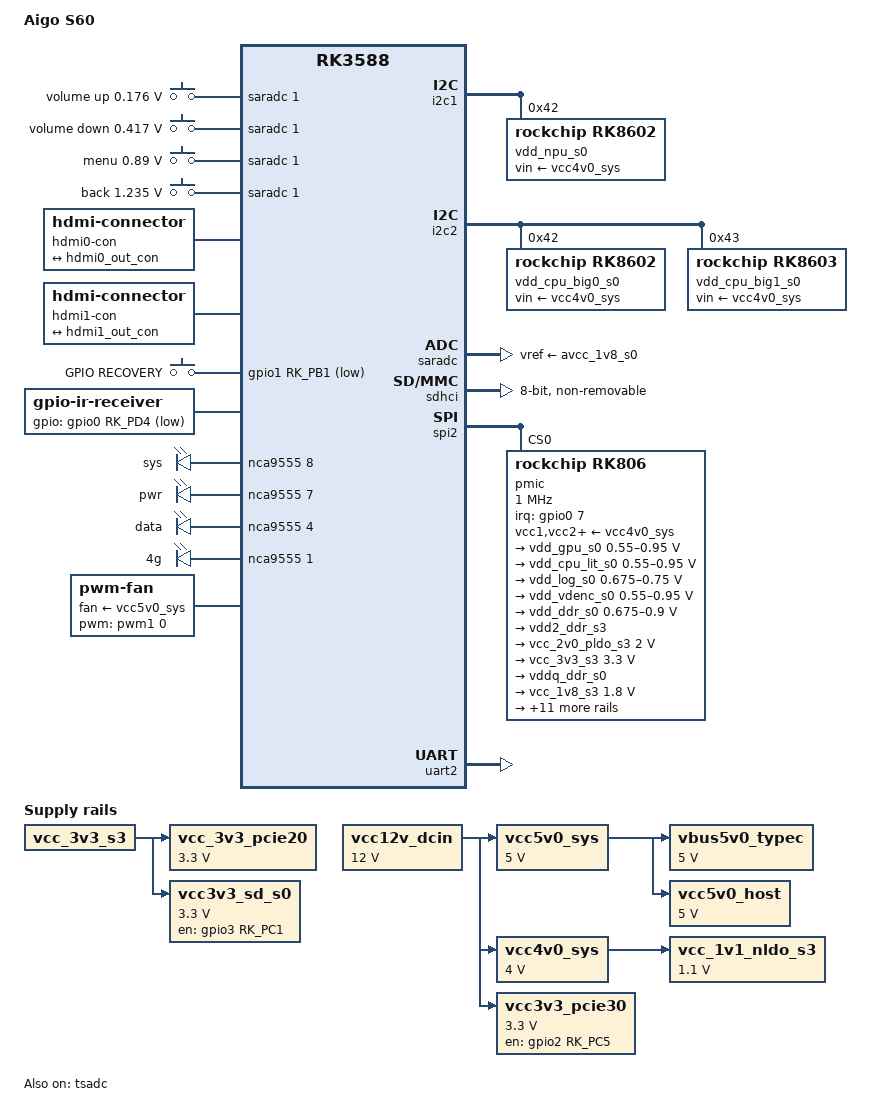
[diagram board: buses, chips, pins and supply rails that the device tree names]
// SPDX-License-Identifier: (GPL-2.0+ OR MIT)
/*
 * Copyright (c) 2021 Rockchip Electronics Co., Ltd.
 * Copyright (c) 2023 Thomas McKahan
 * Copyright (c) 2024 Linaro Ltd.
 *
 * AIoT-3588IED board device tree source
 * Based on rk3588-nanopc-t6.dtsi, with hardware
 * differences adjusted per factory-image boot.dts.
 */

/dts-v1/;

#include <dt-bindings/gpio/gpio.h>
#include <dt-bindings/input/input.h>
#include <dt-bindings/pinctrl/rockchip.h>
#include <dt-bindings/soc/rockchip,vop2.h>
#include <dt-bindings/thermal/thermal.h>
#include <dt-bindings/usb/pd.h>
#include "rk3588.dtsi"

/ {
	model = "Aigo S60";
	compatible = "rockchip,rk3588-aigo-s60", "rockchip,rk3588";

	aliases {
		mmc0 = &sdhci;
		mmc1 = &sdmmc;
		mmc2 = &sdio;
		ethernet0 = &gmac1;
	};

	adc-keys-0 {
		compatible = "adc-keys";
		io-channels = <&saradc 1>;
		io-channel-names = "buttons";
		keyup-threshold-microvolt = <1800000>;
		poll-interval = <100>;

		vol-up-key {
			label = "volume up";
			linux,code = <KEY_VOLUMEUP>;
			press-threshold-microvolt = <175800>;
		};

		vol-down-key {
			label = "volume down";
			linux,code = <KEY_VOLUMEDOWN>;
			press-threshold-microvolt = <417000>;
		};

		menu-key {
			label = "menu";
			linux,code = <KEY_MENU>;
			press-threshold-microvolt = <890000>;
		};

		back-key {
			label = "back";
			linux,code = <KEY_BACK>;
			press-threshold-microvolt = <1235000>;
		};
	};

	chosen {
		stdout-path = "serial2:1500000n8";
	};

	hdmi0-con {
		compatible = "hdmi-connector";
		type = "a";

		port {
			hdmi0_con_in: endpoint {
				remote-endpoint = <&hdmi0_out_con>;
			};
		};
	};

	hdmi1-con {
		compatible = "hdmi-connector";
		type = "a";

		port {
			hdmi1_con_in: endpoint {
				remote-endpoint = <&hdmi1_out_con>;
			};
		};
	};

	gpio-keys {
		compatible = "gpio-keys";
		autorepeat;

		recovery {
			debounce-interval = <100>;
			gpios = <&gpio1 RK_PB1 GPIO_ACTIVE_LOW>;
			label = "GPIO RECOVERY";
			linux,code = <KEY_F8>;
		};
	};

	ir-receiver {
		compatible = "gpio-ir-receiver";
		gpios = <&gpio0 RK_PD4 GPIO_ACTIVE_LOW>;
		pinctrl-names = "default";
		pinctrl-0 = <&ir_receiver_pin>;
	};

	leds {
		compatible = "gpio-leds";

		sys_led: led-0 {
			gpios = <&nca9555 8 GPIO_ACTIVE_HIGH>;
			label = "sys";
			linux,default-trigger = "heartbeat";
			default-state = "on";
		};

		pwr_led: led-1 {
			gpios = <&nca9555 7 GPIO_ACTIVE_HIGH>;
			label = "pwr";
			default-state = "on";
		};

		data_led: led-2 {
			gpios = <&nca9555 4 GPIO_ACTIVE_HIGH>;
			label = "data";
			linux,default-trigger = "mmc0";
			default-state = "off";
		};

		fourg_led: led-3 {
			gpios = <&nca9555 1 GPIO_ACTIVE_HIGH>;
			label = "4g";
			default-state = "off";
		};
	};

	fan: pwm-fan {
		compatible = "pwm-fan";
		cooling-levels = <0 35 64 100 150 255>;
		fan-supply = <&vcc5v0_sys>;
		pwms = <&pwm1 0 50000 0>;
		#cooling-cells = <2>;
	};

	/* sound node removed — es8388 codec was on i2c7, now disabled */

	vcc12v_dcin: regulator-vcc12v-dcin {
		compatible = "regulator-fixed";
		regulator-name = "vcc12v_dcin";
		regulator-always-on;
		regulator-boot-on;
		regulator-min-microvolt = <12000000>;
		regulator-max-microvolt = <12000000>;
	};

	/* vcc5v0_sys powers peripherals */
	vcc5v0_sys: regulator-vcc5v0-sys {
		compatible = "regulator-fixed";
		regulator-name = "vcc5v0_sys";
		regulator-always-on;
		regulator-boot-on;
		regulator-min-microvolt = <5000000>;
		regulator-max-microvolt = <5000000>;
		vin-supply = <&vcc12v_dcin>;
	};

	/* vcc4v0_sys powers the RK806, RK860's */
	vcc4v0_sys: regulator-vcc4v0-sys {
		compatible = "regulator-fixed";
		regulator-name = "vcc4v0_sys";
		regulator-always-on;
		regulator-boot-on;
		regulator-min-microvolt = <4000000>;
		regulator-max-microvolt = <4000000>;
		vin-supply = <&vcc12v_dcin>;
	};

	vcc_1v1_nldo_s3: regulator-vcc-1v1-nldo-s3 {
		compatible = "regulator-fixed";
		regulator-name = "vcc-1v1-nldo-s3";
		regulator-always-on;
		regulator-boot-on;
		regulator-min-microvolt = <1100000>;
		regulator-max-microvolt = <1100000>;
		vin-supply = <&vcc4v0_sys>;
	};

	vcc_3v3_pcie20: regulator-vcc3v3-pcie20 {
		compatible = "regulator-fixed";
		regulator-name = "vcc_3v3_pcie20";
		regulator-always-on;
		regulator-boot-on;
		regulator-min-microvolt = <3300000>;
		regulator-max-microvolt = <3300000>;
		vin-supply = <&vcc_3v3_s3>;
	};

	vbus5v0_typec: regulator-vbus5v0-typec {
		compatible = "regulator-fixed";
		enable-active-high;
		regulator-name = "vbus5v0_typec";
		regulator-min-microvolt = <5000000>;
		regulator-max-microvolt = <5000000>;
		vin-supply = <&vcc5v0_sys>;
	};

	vcc5v0_host: regulator-vcc5v0-host {
		compatible = "regulator-fixed";
		regulator-name = "vcc5v0_host";
		regulator-always-on;
		regulator-boot-on;
		regulator-min-microvolt = <5000000>;
		regulator-max-microvolt = <5000000>;
		vin-supply = <&vcc5v0_sys>;
	};

	vcc3v3_pcie30: regulator-vcc3v3-pcie30 {
		compatible = "regulator-fixed";
		enable-active-high;
		gpios = <&gpio2 RK_PC5 GPIO_ACTIVE_HIGH>;
		pinctrl-names = "default";
		pinctrl-0 = <&pcie_m2_0_pwren>;
		regulator-name = "vcc3v3_pcie30";
		regulator-min-microvolt = <3300000>;
		regulator-max-microvolt = <3300000>;
		startup-delay-us = <5000>;
		vin-supply = <&vcc12v_dcin>;
	};

	vcc3v3_sd_s0: regulator-vcc3v3-sd-s0 {
		compatible = "regulator-fixed";
		enable-active-high;
		gpio = <&gpio3 RK_PC1 GPIO_ACTIVE_HIGH>;
		pinctrl-names = "default";
		pinctrl-0 = <&sd_s0_pwren>;
		regulator-name = "vcc3v3_sd_s0";
		regulator-min-microvolt = <3300000>;
		regulator-max-microvolt = <3300000>;
		vin-supply = <&vcc_3v3_s3>;
	};
};

&combphy0_ps {
	status = "disabled";
};

&combphy1_ps {
	status = "disabled";
};

&combphy2_psu {
	status = "disabled";
};

&cpu_l0 {
	cpu-supply = <&vdd_cpu_lit_s0>;
};

&cpu_l1 {
	cpu-supply = <&vdd_cpu_lit_s0>;
};

&cpu_l2 {
	cpu-supply = <&vdd_cpu_lit_s0>;
};

&cpu_l3 {
	cpu-supply = <&vdd_cpu_lit_s0>;
};

&cpu_b0 {
	cpu-supply = <&vdd_cpu_big0_s0>;
};

&cpu_b1 {
	cpu-supply = <&vdd_cpu_big0_s0>;
};

&cpu_b2 {
	cpu-supply = <&vdd_cpu_big1_s0>;
};

&cpu_b3 {
	cpu-supply = <&vdd_cpu_big1_s0>;
};

/* Ethernet disabled — headless recovery doesn't need networking.
 * gmac may also try MSI via ITS. */
&gmac1 {
	status = "disabled";
};

&gpu {
	status = "disabled";
};

/* Disable ITS — RK3588001 erratum makes MSI allocation hang.
 * Without ITS, all devices fall back to wired IRQs. */
&its0 {
	status = "disabled";
};

&its1 {
	status = "disabled";
};

&mmu600_pcie {
	status = "disabled";
};

&mmu600_php {
	status = "disabled";
};

&av1d {
	status = "disabled";
};

&av1d_mmu {
	status = "disabled";
};

&rga3_core1 {
	status = "disabled";
};

&rga3_1_mmu {
	status = "disabled";
};

&vepu121_1 {
	status = "disabled";
};

&vepu121_1_mmu {
	status = "disabled";
};

&vepu121_2 {
	status = "disabled";
};

&vepu121_2_mmu {
	status = "disabled";
};

&vepu121_3 {
	status = "disabled";
};

&vepu121_3_mmu {
	status = "disabled";
};

&vdec1 {
	status = "disabled";
};

&vdec1_mmu {
	status = "disabled";
};

&hdmi0 {
	status = "disabled";
};

&hdmi0_out {
	hdmi0_out_con: endpoint {
		remote-endpoint = <&hdmi0_con_in>;
	};
};

&hdmi1 {
	frl-enable-gpios = <&gpio1 RK_PC6 GPIO_ACTIVE_LOW>;
	pinctrl-0 = <&hdmim1_tx1_cec &hdmim0_tx1_hpd
		     &hdmim2_tx1_scl &hdmim2_tx1_sda &hdmi1_tx_on_h>;
	pinctrl-names = "default";
	status = "disabled";
};

&hdmi1_in {
	hdmi1_in_vp0: endpoint {
		remote-endpoint = <&vp0_out_hdmi1>;
	};
};

&hdmi1_out {
	hdmi1_out_con: endpoint {
		remote-endpoint = <&hdmi1_con_in>;
	};
};

&hdmi1_sound {
	status = "disabled";
};

&hdmi_receiver_cma {
	status = "disabled";
};

&hdmi_receiver {
	hpd-gpios = <&gpio1 RK_PD5 GPIO_ACTIVE_LOW>;
	pinctrl-0 = <&hdmim1_rx_cec &hdmim1_rx_hpdin &hdmim1_rx_scl &hdmim1_rx_sda &hdmirx_hpd>;
	pinctrl-names = "default";
	status = "disabled";
};

&hdptxphy0 {
	status = "disabled";
};

&hdptxphy1 {
	status = "disabled";
};

&i2c0 {
	status = "disabled";
};

&i2c1 {
	pinctrl-0 = <&i2c1m2_xfer>;
	pinctrl-names = "default";
	status = "okay";

	vdd_npu_s0: regulator@42 {
		compatible = "rockchip,rk8602";
		reg = <0x42>;
		fcs,suspend-voltage-selector = <1>;
		regulator-name = "vdd_npu_s0";
		regulator-always-on;
		regulator-boot-on;
		regulator-min-microvolt = <550000>;
		regulator-max-microvolt = <950000>;
		regulator-ramp-delay = <2300>;
		vin-supply = <&vcc4v0_sys>;

		regulator-state-mem {
			regulator-off-in-suspend;
		};
	};
};

&i2c2 {
	pinctrl-0 = <&i2c2m4_xfer>;
	pinctrl-names = "default";
	status = "okay";

	vdd_cpu_big0_s0: regulator@42 {
		compatible = "rockchip,rk8602";
		reg = <0x42>;
		fcs,suspend-voltage-selector = <1>;
		regulator-name = "vdd_cpu_big0_s0";
		regulator-always-on;
		regulator-boot-on;
		regulator-min-microvolt = <550000>;
		regulator-max-microvolt = <1050000>;
		regulator-ramp-delay = <2300>;
		vin-supply = <&vcc4v0_sys>;

		regulator-state-mem {
			regulator-off-in-suspend;
		};
	};

	vdd_cpu_big1_s0: regulator@43 {
		compatible = "rockchip,rk8603", "rockchip,rk8602";
		reg = <0x43>;
		fcs,suspend-voltage-selector = <1>;
		regulator-name = "vdd_cpu_big1_s0";
		regulator-always-on;
		regulator-boot-on;
		regulator-min-microvolt = <550000>;
		regulator-max-microvolt = <1050000>;
		regulator-ramp-delay = <2300>;
		vin-supply = <&vcc4v0_sys>;

		regulator-state-mem {
			regulator-off-in-suspend;
		};
	};
};

/* i2c6 disabled — Type-C/RTC/GPIO-expander not needed for recovery.
 * Disabling avoids dangling phandle to removed usbdp_phy0_typec_ss. */
&i2c6 {
	status = "disabled";

	nca9555: gpio-expander@20 {
		compatible = "nxp,pca9555";
		reg = <0x20>;
		gpio-controller;
		#gpio-cells = <2>;
		status = "disabled";
	};

	usbc0: usb-typec@22 {
		compatible = "fcs,fusb302";
		reg = <0x22>;
		status = "disabled";
	};

	hym8563: rtc@51 {
		compatible = "haoyu,hym8563";
		reg = <0x51>;
		#clock-cells = <0>;
		clock-output-names = "hym8563";
		status = "disabled";
	};
};

/* i2c7 has audio codec + watchdog — not needed for recovery */
&i2c7 {
	status = "disabled";
};

&i2c8 {
	pinctrl-0 = <&i2c8m2_xfer>;
	pinctrl-names = "default";
};

&i2s0_8ch {
	status = "disabled";
};

&i2s5_8ch {
	status = "disabled";
};

&i2s6_8ch {
	status = "disabled";
};

&package_thermal {
	polling-delay = <1000>;

	trips {
		package_warm: package-warm {
			temperature = <55000>;
			hysteresis = <2000>;
			type = "active";
		};

		package_hot: package-hot {
			temperature = <65000>;
			hysteresis = <2000>;
			type = "active";
		};
	};

	cooling-maps {
		map0 {
			trip = <&package_warm>;
			cooling-device = <&fan THERMAL_NO_LIMIT 1>;
		};

		map1 {
			trip = <&package_hot>;
			cooling-device = <&fan 2 THERMAL_NO_LIMIT>;
		};
	};
};

&pcie2x1l0 {
	status = "disabled";
};

&pcie2x1l1 {
	status = "disabled";
};

&pcie2x1l2 {
	status = "disabled";
};

&pcie30phy {
	status = "disabled";
};

&pcie3x4 {
	status = "disabled";
};

&pinctrl {
	hdmi {
		hdmi1_tx_on_h: hdmi1-tx-on-h {
			rockchip,pins = <1 RK_PC6 RK_FUNC_GPIO &pcfg_pull_none>;
		};
	};

	hdmirx {
		hdmirx_hpd: hdmirx-5v-detection {
			rockchip,pins = <1 RK_PD5 RK_FUNC_GPIO &pcfg_pull_none>;
		};
	};

	headphone {
		hp_det: hp-det {
			rockchip,pins = <4 RK_PC2 RK_FUNC_GPIO &pcfg_pull_none>;
		};
	};

	hym8563 {
		hym8563_int: hym8563-int {
			rockchip,pins = <0 RK_PB0 RK_FUNC_GPIO &pcfg_pull_up>;
		};
	};

	ir-receiver {
		ir_receiver_pin: ir-receiver-pin {
			rockchip,pins = <0 RK_PD4 RK_FUNC_GPIO &pcfg_pull_none>;
		};
	};

	pcie {
		pcie2_0_rst: pcie2-0-rst {
			rockchip,pins = <3 RK_PC6 RK_FUNC_GPIO &pcfg_pull_none>;
		};

		pcie2_2_rst: pcie2-2-rst {
			rockchip,pins = <1 RK_PB4 RK_FUNC_GPIO &pcfg_pull_none>;
		};

		pcie_m2_0_pwren: pcie-m20-pwren {
			rockchip,pins = <2 RK_PC5 RK_FUNC_GPIO &pcfg_pull_none>;
		};

		wifi_poweren: wifi-poweren {
			rockchip,pins = <1 RK_PA5 RK_FUNC_GPIO &pcfg_pull_up>;
		};
	};

	usb {
		usbc0_int: usbc0-int {
			rockchip,pins = <0 RK_PD3 RK_FUNC_GPIO &pcfg_pull_up>;
		};
	};

	sdmmc {
		sd_s0_pwren: sd-s0-pwren {
			rockchip,pins = <3 RK_PC1 RK_FUNC_GPIO &pcfg_pull_none>;
		};
	};

	sdio {
		sdiom0_pins: sdiom0-pins {
			rockchip,pins =
				/* sdio_clk_m0 */
				<2 RK_PB3 2 &pcfg_pull_none>,
				/* sdio_cmd_m0 */
				<2 RK_PB2 2 &pcfg_pull_up>,
				/* sdio_d0_m0 */
				<2 RK_PA6 2 &pcfg_pull_up>,
				/* sdio_d1_m0 */
				<2 RK_PA7 2 &pcfg_pull_up>,
				/* sdio_d2_m0 */
				<2 RK_PB0 2 &pcfg_pull_up>,
				/* sdio_d3_m0 */
				<2 RK_PB1 2 &pcfg_pull_up>;
		};
	};
};

&pwm1 {
	status = "disabled";
};

/* NPU disabled — headless recovery doesn't need it */
&rknn_core_0 { status = "disabled"; };
&rknn_core_1 { status = "disabled"; };
&rknn_core_2 { status = "disabled"; };
&rknn_mmu_0 { status = "disabled"; };
&rknn_mmu_1 { status = "disabled"; };
&rknn_mmu_2 { status = "disabled"; };

&saradc {
	vref-supply = <&avcc_1v8_s0>;
	status = "okay";
};

&sdhci {
	bus-width = <8>;
	no-sdio;
	no-sd;
	non-removable;
	max-frequency = <200000000>;
	mmc-hs400-1_8v;
	mmc-hs400-enhanced-strobe;
	status = "okay";
};

&sdio {
	bus-width = <4>;
	cap-mmc-highspeed;
	mmc-ddr-1_8v;
	mmc-hs400-1_8v;
	non-removable;
	no-sd;
	no-sdio;
	keep-power-in-suspend;
	max-frequency = <150000000>;
	pinctrl-names = "default";
	pinctrl-0 = <&sdiom0_pins>;
	status = "disabled";
};

&sdmmc {
	bus-width = <4>;
	cap-mmc-highspeed;
	cap-sd-highspeed;
	disable-wp;
	no-mmc;
	no-sdio;
	sd-uhs-sdr104;
	vmmc-supply = <&vcc3v3_sd_s0>;
	vqmmc-supply = <&vccio_sd_s0>;
	status = "disabled";
};

/* optional on non-LTS, populated on LTS version */
&sfc {
	status = "disabled";
};

&spi2 {
	status = "okay";
	assigned-clocks = <&cru CLK_SPI2>;
	assigned-clock-rates = <200000000>;
	pinctrl-names = "default";
	pinctrl-0 = <&spi2m2_cs0 &spi2m2_pins>;
	num-cs = <1>;

	pmic@0 {
		compatible = "rockchip,rk806";
		spi-max-frequency = <1000000>;
		reg = <0x0>;

		interrupt-parent = <&gpio0>;
		interrupts = <7 IRQ_TYPE_LEVEL_LOW>;

		pinctrl-names = "default";
		pinctrl-0 = <&pmic_pins>;

		system-power-controller;

		vcc1-supply = <&vcc4v0_sys>;
		vcc2-supply = <&vcc4v0_sys>;
		vcc3-supply = <&vcc4v0_sys>;
		vcc4-supply = <&vcc4v0_sys>;
		vcc5-supply = <&vcc4v0_sys>;
		vcc6-supply = <&vcc4v0_sys>;
		vcc7-supply = <&vcc4v0_sys>;
		vcc8-supply = <&vcc4v0_sys>;
		vcc9-supply = <&vcc4v0_sys>;
		vcc10-supply = <&vcc4v0_sys>;
		vcc11-supply = <&vcc4v0_sys>;
		vcc12-supply = <&vcc4v0_sys>;
		vcc13-supply = <&vcc4v0_sys>;
		vcc14-supply = <&vcc4v0_sys>;
		vcca-supply = <&vcc4v0_sys>;

		gpio-controller;
		#gpio-cells = <2>;

		regulators {
			vdd_gpu_s0: vdd_gpu_mem_s0: dcdc-reg1 {
				regulator-boot-on;
				regulator-min-microvolt = <550000>;
				regulator-max-microvolt = <950000>;
				regulator-ramp-delay = <12500>;
				regulator-name = "vdd_gpu_s0";
				regulator-enable-ramp-delay = <400>;

				regulator-state-mem {
					regulator-off-in-suspend;
				};
			};

			vdd_cpu_lit_s0: vdd_cpu_lit_mem_s0: dcdc-reg2 {
				regulator-always-on;
				regulator-boot-on;
				regulator-min-microvolt = <550000>;
				regulator-max-microvolt = <950000>;
				regulator-ramp-delay = <12500>;
				regulator-name = "vdd_cpu_lit_s0";

				regulator-state-mem {
					regulator-off-in-suspend;
				};
			};

			vdd_log_s0: dcdc-reg3 {
				regulator-always-on;
				regulator-boot-on;
				regulator-min-microvolt = <675000>;
				regulator-max-microvolt = <750000>;
				regulator-ramp-delay = <12500>;
				regulator-name = "vdd_log_s0";

				regulator-state-mem {
					regulator-off-in-suspend;
					regulator-suspend-microvolt = <750000>;
				};
			};

			vdd_vdenc_s0: vdd_vdenc_mem_s0: dcdc-reg4 {
				regulator-always-on;
				regulator-boot-on;
				regulator-min-microvolt = <550000>;
				regulator-max-microvolt = <950000>;
				regulator-ramp-delay = <12500>;
				regulator-name = "vdd_vdenc_s0";

				regulator-state-mem {
					regulator-off-in-suspend;
				};
			};

			vdd_ddr_s0: dcdc-reg5 {
				regulator-always-on;
				regulator-boot-on;
				regulator-min-microvolt = <675000>;
				regulator-max-microvolt = <900000>;
				regulator-ramp-delay = <12500>;
				regulator-name = "vdd_ddr_s0";

				regulator-state-mem {
					regulator-off-in-suspend;
					regulator-suspend-microvolt = <850000>;
				};
			};

			vdd2_ddr_s3: dcdc-reg6 {
				regulator-always-on;
				regulator-boot-on;
				regulator-name = "vdd2_ddr_s3";

				regulator-state-mem {
					regulator-on-in-suspend;
				};
			};

			vcc_2v0_pldo_s3: dcdc-reg7 {
				regulator-always-on;
				regulator-boot-on;
				regulator-min-microvolt = <2000000>;
				regulator-max-microvolt = <2000000>;
				regulator-ramp-delay = <12500>;
				regulator-name = "vcc_2v0_pldo_s3";

				regulator-state-mem {
					regulator-on-in-suspend;
					regulator-suspend-microvolt = <2000000>;
				};
			};

			vcc_3v3_s3: dcdc-reg8 {
				regulator-always-on;
				regulator-boot-on;
				regulator-min-microvolt = <3300000>;
				regulator-max-microvolt = <3300000>;
				regulator-name = "vcc_3v3_s3";

				regulator-state-mem {
					regulator-on-in-suspend;
					regulator-suspend-microvolt = <3300000>;
				};
			};

			vddq_ddr_s0: dcdc-reg9 {
				regulator-always-on;
				regulator-boot-on;
				regulator-name = "vddq_ddr_s0";

				regulator-state-mem {
					regulator-off-in-suspend;
				};
			};

			vcc_1v8_s3: dcdc-reg10 {
				regulator-always-on;
				regulator-boot-on;
				regulator-min-microvolt = <1800000>;
				regulator-max-microvolt = <1800000>;
				regulator-name = "vcc_1v8_s3";

				regulator-state-mem {
					regulator-on-in-suspend;
					regulator-suspend-microvolt = <1800000>;
				};
			};

			avcc_1v8_s0: pldo-reg1 {
				regulator-always-on;
				regulator-boot-on;
				regulator-min-microvolt = <1800000>;
				regulator-max-microvolt = <1800000>;
				regulator-name = "avcc_1v8_s0";

				regulator-state-mem {
					regulator-off-in-suspend;
				};
			};

			vcc_1v8_s0: pldo-reg2 {
				regulator-always-on;
				regulator-boot-on;
				regulator-min-microvolt = <1800000>;
				regulator-max-microvolt = <1800000>;
				regulator-name = "vcc_1v8_s0";

				regulator-state-mem {
					regulator-off-in-suspend;
					regulator-suspend-microvolt = <1800000>;
				};
			};

			avdd_1v2_s0: pldo-reg3 {
				regulator-always-on;
				regulator-boot-on;
				regulator-min-microvolt = <1200000>;
				regulator-max-microvolt = <1200000>;
				regulator-name = "avdd_1v2_s0";

				regulator-state-mem {
					regulator-off-in-suspend;
				};
			};

			vcc_3v3_s0: pldo-reg4 {
				regulator-always-on;
				regulator-boot-on;
				regulator-min-microvolt = <3300000>;
				regulator-max-microvolt = <3300000>;
				regulator-ramp-delay = <12500>;
				regulator-name = "vcc_3v3_s0";

				regulator-state-mem {
					regulator-off-in-suspend;
				};
			};

			vccio_sd_s0: pldo-reg5 {
				regulator-always-on;
				regulator-boot-on;
				regulator-min-microvolt = <1800000>;
				regulator-max-microvolt = <3300000>;
				regulator-ramp-delay = <12500>;
				regulator-name = "vccio_sd_s0";

				regulator-state-mem {
					regulator-off-in-suspend;
				};
			};

			pldo6_s3: pldo-reg6 {
				regulator-always-on;
				regulator-boot-on;
				regulator-min-microvolt = <1800000>;
				regulator-max-microvolt = <1800000>;
				regulator-name = "pldo6_s3";

				regulator-state-mem {
					regulator-on-in-suspend;
					regulator-suspend-microvolt = <1800000>;
				};
			};

			vdd_0v75_s3: nldo-reg1 {
				regulator-always-on;
				regulator-boot-on;
				regulator-min-microvolt = <750000>;
				regulator-max-microvolt = <750000>;
				regulator-name = "vdd_0v75_s3";

				regulator-state-mem {
					regulator-on-in-suspend;
					regulator-suspend-microvolt = <750000>;
				};
			};

			vdd_ddr_pll_s0: nldo-reg2 {
				regulator-always-on;
				regulator-boot-on;
				regulator-min-microvolt = <850000>;
				regulator-max-microvolt = <850000>;
				regulator-name = "vdd_ddr_pll_s0";

				regulator-state-mem {
					regulator-off-in-suspend;
					regulator-suspend-microvolt = <850000>;
				};
			};

			avdd_0v75_s0: nldo-reg3 {
				regulator-always-on;
				regulator-boot-on;
				regulator-min-microvolt = <750000>;
				regulator-max-microvolt = <750000>;
				regulator-name = "avdd_0v75_s0";

				regulator-state-mem {
					regulator-off-in-suspend;
				};
			};

			vdd_0v85_s0: nldo-reg4 {
				regulator-always-on;
				regulator-boot-on;
				regulator-min-microvolt = <850000>;
				regulator-max-microvolt = <850000>;
				regulator-name = "vdd_0v85_s0";

				regulator-state-mem {
					regulator-off-in-suspend;
				};
			};

			vdd_0v75_s0: nldo-reg5 {
				regulator-always-on;
				regulator-boot-on;
				regulator-min-microvolt = <750000>;
				regulator-max-microvolt = <750000>;
				regulator-name = "vdd_0v75_s0";

				regulator-state-mem {
					regulator-off-in-suspend;
				};
			};
		};
	};
};

&tsadc {
	status = "okay";
};

&uart2 {
	pinctrl-0 = <&uart2m0_xfer>;
	pinctrl-names = "default";
	status = "okay";
};

/* All USB disabled — headless recovery doesn't need USB.
 * Also USB controllers use MSI via ITS which hangs on RK3588001 erratum. */
&u2phy0 { status = "disabled"; };
&u2phy0_otg { status = "disabled"; };
&u2phy1 { status = "disabled"; };
&u2phy1_otg { status = "disabled"; };
&u2phy2 { status = "disabled"; };
&u2phy2_host { status = "disabled"; };
&u2phy3 { status = "disabled"; };
&u2phy3_host { status = "disabled"; };
&usbdp_phy0 { status = "disabled"; };
&usbdp_phy1 { status = "disabled"; };
&usb_host0_ehci { status = "disabled"; };
&usb_host0_ohci { status = "disabled"; };
&usb_host0_xhci { status = "disabled"; };
&usb_host1_xhci { status = "disabled"; };
&usb_host1_ehci { status = "disabled"; };
&usb_host1_ohci { status = "disabled"; };
&usb_host2_xhci { status = "disabled"; };

/* VOP/display disabled — headless recovery */
&vop { status = "disabled"; };
&vop_mmu { status = "disabled"; };

&vp0 {
	vp0_out_hdmi1: endpoint@ROCKCHIP_VOP2_EP_HDMI1 {
		reg = <ROCKCHIP_VOP2_EP_HDMI1>;
		remote-endpoint = <&hdmi1_in_vp0>;
	};
};

&vp1 {
};

&wdt {
	status = "disabled";
};
